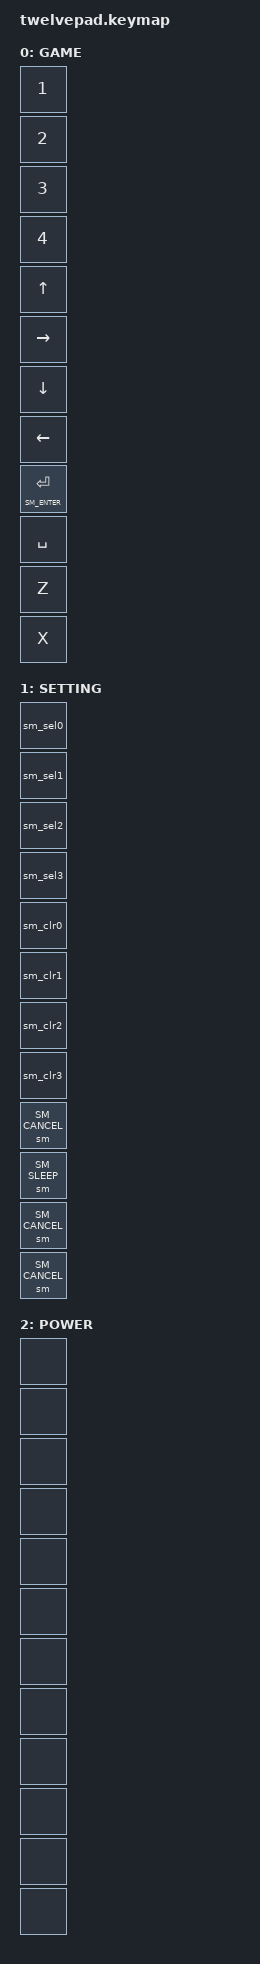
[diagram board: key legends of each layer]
// twelvepad (nice!view version) - 12 keys (SW1 top .. SW12 bottom), direct GPIO, "setup mode"
// The nice!view shows the BT profile, battery and the active layer name
// (GAME / SETTING / POWER), so no profile / battery LEDs are needed.
//
// Normal layer (0):
//   SW1..SW4 = 1 2 3 4, SW5..SW8 = UP RIGHT DOWN LEFT,
//   SW9 = ENTER (tap) / hold > 500 ms then release = enter setup mode,
//   SW10 = SPACE,
//   SW11 = Z, SW12 = X
//
// Setup layer (1) ("SETTING" on the display):
//   SW1..SW4  click -> BT_SEL 0..3, leave setup mode
//   SW5..SW8  click -> BT_CLR for profile 0..3 (selects it, clears it), leave setup mode
//   SW9       click -> nothing, leave setup mode
//   SW10      click -> sleep ("POWER" on the display for 1 s, then deep sleep or soft off,
//                       see .conf, once no key is held)
//   SW11/SW12 click -> nothing, leave setup mode
//
// Sleep layer (2) ("POWER"): everything disabled while waiting for the sleep.

#include <behaviors.dtsi>
#include <dt-bindings/zmk/keys.h>
#include <dt-bindings/zmk/bt.h>

// &sm parameters (keep in sync with src/setup_mode.c)
#define SM_ENTER    1   // used by hold-tap: arms on hold, enters setup mode on release
#define SM_EXIT     2   // leave setup mode now
#define SM_CANCEL   3   // leave setup mode on release
#define SM_SLEEP    6   // on release: start sleep sequence

/ {
    behaviors {
        // SW9: tap = ENTER, hold > 500 ms = setup mode (entered on release)
        setup_ht: setup_ht {
            compatible = "zmk,behavior-hold-tap";
            #binding-cells = <2>;
            flavor = "tap-preferred";
            tapping-term-ms = <500>;
            bindings = <&sm>, <&kp>;
        };
    };

    macros {
        sm_sel0: sm_sel0 {
            compatible = "zmk,behavior-macro";
            #binding-cells = <0>;
            wait-ms = <20>;
            tap-ms = <10>;
            bindings = <&macro_tap>, <&bt BT_SEL 0>, <&sm SM_EXIT>;
        };
        sm_sel1: sm_sel1 {
            compatible = "zmk,behavior-macro";
            #binding-cells = <0>;
            wait-ms = <20>;
            tap-ms = <10>;
            bindings = <&macro_tap>, <&bt BT_SEL 1>, <&sm SM_EXIT>;
        };
        sm_sel2: sm_sel2 {
            compatible = "zmk,behavior-macro";
            #binding-cells = <0>;
            wait-ms = <20>;
            tap-ms = <10>;
            bindings = <&macro_tap>, <&bt BT_SEL 2>, <&sm SM_EXIT>;
        };
        sm_sel3: sm_sel3 {
            compatible = "zmk,behavior-macro";
            #binding-cells = <0>;
            wait-ms = <20>;
            tap-ms = <10>;
            bindings = <&macro_tap>, <&bt BT_SEL 3>, <&sm SM_EXIT>;
        };

        // BT_CLR only clears the *current* profile, so select it first.
        sm_clr0: sm_clr0 {
            compatible = "zmk,behavior-macro";
            #binding-cells = <0>;
            wait-ms = <50>;
            tap-ms = <10>;
            bindings = <&macro_tap>, <&bt BT_SEL 0>, <&bt BT_CLR>, <&sm SM_EXIT>;
        };
        sm_clr1: sm_clr1 {
            compatible = "zmk,behavior-macro";
            #binding-cells = <0>;
            wait-ms = <50>;
            tap-ms = <10>;
            bindings = <&macro_tap>, <&bt BT_SEL 1>, <&bt BT_CLR>, <&sm SM_EXIT>;
        };
        sm_clr2: sm_clr2 {
            compatible = "zmk,behavior-macro";
            #binding-cells = <0>;
            wait-ms = <50>;
            tap-ms = <10>;
            bindings = <&macro_tap>, <&bt BT_SEL 2>, <&bt BT_CLR>, <&sm SM_EXIT>;
        };
        sm_clr3: sm_clr3 {
            compatible = "zmk,behavior-macro";
            #binding-cells = <0>;
            wait-ms = <50>;
            tap-ms = <10>;
            bindings = <&macro_tap>, <&bt BT_SEL 3>, <&bt BT_CLR>, <&sm SM_EXIT>;
        };
    };

    keymap {
        compatible = "zmk,keymap";

        default_layer {
            display-name = "GAME";
            bindings = <
                &kp N1
                &kp N2
                &kp N3
                &kp N4
                &kp UP
                &kp RIGHT
                &kp DOWN
                &kp LEFT
                &setup_ht SM_ENTER ENTER
                &kp SPACE
                &kp Z
                &kp X
            >;
        };

        setup_layer {
            display-name = "SETTING";
            bindings = <
                &sm_sel0
                &sm_sel1
                &sm_sel2
                &sm_sel3
                &sm_clr0
                &sm_clr1
                &sm_clr2
                &sm_clr3
                &sm SM_CANCEL
                &sm SM_SLEEP
                &sm SM_CANCEL
                &sm SM_CANCEL
            >;
        };

        sleep_layer {
            display-name = "POWER";
            bindings = <
                &none &none &none &none
                &none &none &none &none
                &none &none &none &none
            >;
        };
    };
};
